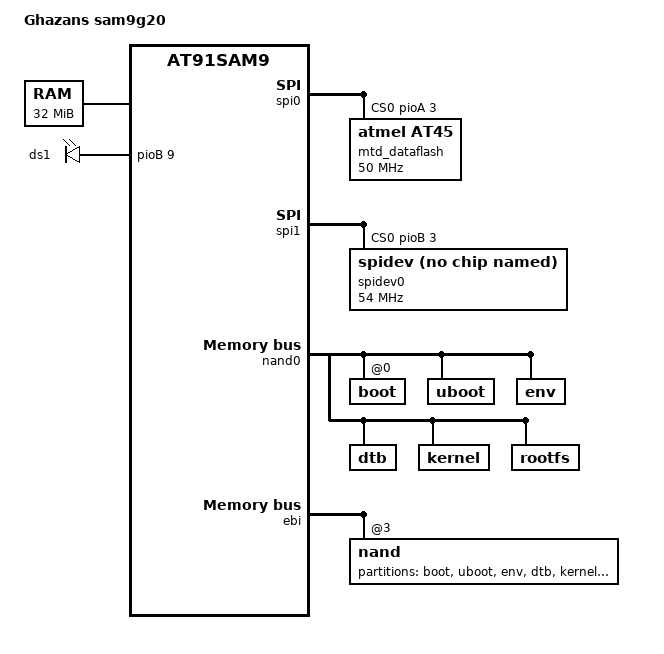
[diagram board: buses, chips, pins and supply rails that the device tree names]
/*
 * ghazans_9g20.dts
 *
 * Licensed under GPLv2.
 */
/* /dts-v1/;
#include "at91sam9g20ek_common.dtsi"*/
#include "at91sam9g20ek_2mmc.dts"

/ {
        model = "Ghazans sam9g20";
        compatible = "atmel,at91sam9g20ek", "atmel,at91sam9g20", "atmel,at91sam9";

	chosen {
                bootargs = "console=ttyS0,115200 root=/dev/mtdblock5 rw ubi.mtd=5 root=ubi0:rootfs rootfstype=ubifs";
                stdout-path = "serial0:115200n8";
        };

        memory {
                reg = <0x20000000 0x2000000>;
        };

	ahb {
		apb {

			usart0: serial@fffb0000 {
                                pinctrl-0 = <&pinctrl_usart0>;
			};

			macb0: ethernet@fffc4000 {
				status = "disabled";
			};

			usb1: gadget@fffa4000 {
				/delete-property/ atmel,vbus-gpio;
			};

	/*		/delete-node/ mmc@fffa8000;  MMC0 slot0 is SDcard slot1 unused */

/*			mmc0: mmc@fffa8000 {
                                pinctrl-0 = <
                                        &pinctrl_board_mmc0_slot0
                                        &pinctrl_mmc0_clk
                                        &pinctrl_mmc0_slot0_cmd_dat0
                                        &pinctrl_mmc0_slot0_dat1_3>;
                                status = "okay";
                        } */


			spi0: spi@fffc8000 {
				cs-gpios = <&pioA 3 0>, <0>, <0>, <0>;
				status = "okay";
				mtd_dataflash@0 {
                                        compatible = "atmel,at45", "atmel,dataflash";
                                        spi-max-frequency = <50000000>;
                                        reg = <0>;
                                };
			};

			spi1: spi@fffcc000 { /* TODO: Need to add spi1 CS as a pin in pinctrl for this */
				cs-gpios = <&pioB 3 0>, <0>, <0>, <0>;
				status = "okay";

				spidev0: spi@0 {
					compatible = "spidev";
					reg = <0>;
					spi-max-frequency = <54000000>;
				};
			};
		};


		nand0: nand@40000000 {
			nand-bus-width = <0x10>;
                        nand-ecc-mode = "soft";
                        nand-on-flash-bbt;
                        status = "okay";

			/delete-node/ at91bootstrap@0;
			/delete-node/ barebox@20000;
			/delete-node/ bareboxenv@60000;
			/delete-node/ bareboxenv2@80000;
			/delete-node/ oftree@80000;
			/delete-node/ kernel@a0000;
			/delete-node/ rootfs@4a0000;
			/delete-node/ data@7ca0000;

			boot@0 { /* Actually empty, bootstrap is on AT45 */
                                label = "boot";
                                reg = <0x0 0x40000>;
                        };

			uboot@40000 {
                                label = "uboot";
                                reg = <0x40000 0x80000>;
                        };

                        env@c0000 {
                                label = "env";
                                reg = <0xc0000 0x40000>;
                        };

                        dtb@100000 {
                                label = "dtb";
                                reg = <0x100000 0x80000>;
                        };

                        kernel@200000 {
                                label = "kernel";
                                reg = <0x200000 0x600000>;
                        };

                        rootfs@800000 {
                                label = "rootfs";
                                reg = <0x800000 0xF800000>;
                        };
		};

		ebi: ebi@10000000 {
			nand_controller: nand-controller {
				nand@3 {
					nand-bus-width = <0x10>;
					partitions {
						boot@0 { /* Actually empty, bootstrap is on AT45 */
			                                label = "boot";
			                                reg = <0x0 0x40000>;
			                        };

			                        uboot@40000 {
			                                label = "uboot";
			                                reg = <0x40000 0x80000>;
			                        };

			                        env@c0000 {
			                                label = "env";
			                                reg = <0xc0000 0x40000>;
			                        };

			                        dtb@100000 {
                        			        label = "dtb";
			                                reg = <0x100000 0x80000>;
                        			};

			                        kernel@200000 {
                        			        label = "kernel";
			                                reg = <0x200000 0x600000>;
                        			};

			                        rootfs@800000 {
                        			        label = "rootfs";
			                                reg = <0x800000 0xF800000>;
                        			};
					};
				};
			};
		};

	};

	i2c@0 {
		/delete-node/ 24c512@50;
		/delete-node/ wm8731@1b;
	};

	/delete-node/ gpio_keys;
	/delete-node/ sound;

        leds {
                compatible = "gpio-leds";

                ds1 {
                        label = "ds1";
                        gpios = <&pioB 9 GPIO_ACTIVE_HIGH>;
                        linux,default-trigger = "heartbeat";
                };

		/delete-node/ ds5;

        };
};
